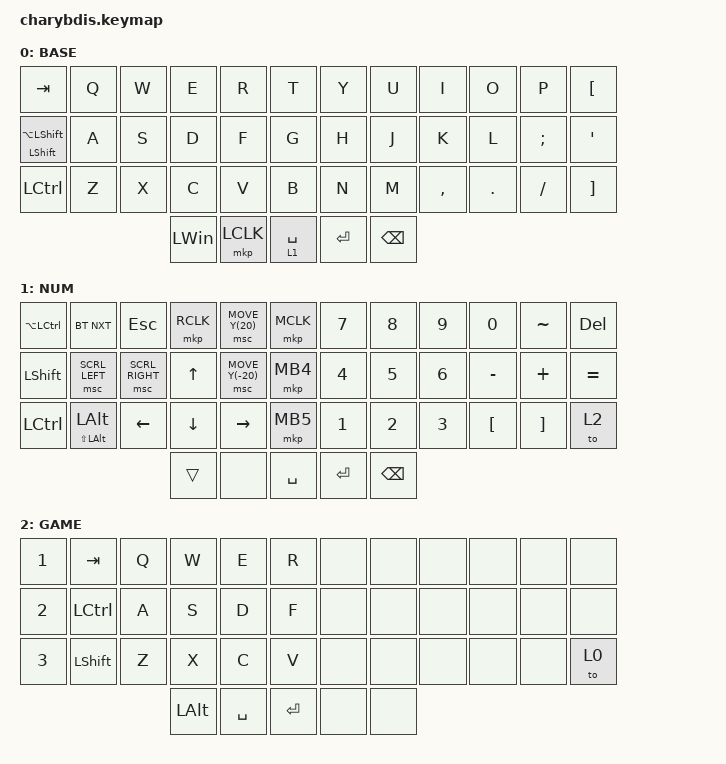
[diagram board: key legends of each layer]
#include <dt-bindings/zmk/mouse.h>
#include <behaviors/mouse_keys.dtsi>
#include <behaviors.dtsi>
#include <dt-bindings/zmk/bt.h>
#include <dt-bindings/zmk/keys.h>
#include <dt-bindings/zmk/pointing.h>
#include "macros.dtsi"

// / {
//     chosen { zmk,matrix_transform = &default_transform; };
// };

/ {
    /* input config for mouse move mode */

    trackball_listener {
        compatible = "zmk,input-behavior-listener";
        device = <&vtrackball>;
        layers = <0 2 7>;
        evt-type = <INPUT_EV_REL>;
        x-input-code = <INPUT_REL_X>;
        y-input-code = <INPUT_REL_Y>;
        scale-multiplier = <1>;
        scale-divisor = <2>;

        // bindings = <&ib_toggle_layer 7>;
    };

    /* input config for snipe mode */

    trackball_snipe_listener {
        compatible = "zmk,input-behavior-listener";
        device = <&vtrackball>;
        layers = <8>;
        evt-type = <INPUT_EV_REL>;
        x-input-code = <INPUT_REL_X>;
        y-input-code = <INPUT_REL_Y>;
        scale-multiplier = <1>;
        scale-divisor = <4>;
    };

    /* input config for mouse scroll mode */

    trackball_scroll_listener {
        compatible = "zmk,input-behavior-listener";
        device = <&vtrackball>;
        layers = <9>;
        evt-type = <INPUT_EV_REL>;
        x-input-code = <INPUT_REL_MISC>;
        y-input-code = <INPUT_REL_WHEEL>;
        y-invert;
        bindings = <&ib_wheel_scaler 1 14>;
    };

    /* define a resolution down scaler only for INPUT_REL_WHEEL */

    ib_wheel_scaler: ib_wheel_scaler {
        compatible = "zmk,input-behavior-scaler";
        #binding-cells = <2>;
        evt-type = <INPUT_EV_REL>;
        input-code = <INPUT_REL_WHEEL>;
    };

    /* adjust cooldown waiting period for mouse key layer after activated */

    ib_toggle_layer: ib_toggle_layer {
        compatible = "zmk,input-behavior-tog-layer";
        #binding-cells = <1>;
        time-to-live-ms = <750>;
    };

    behaviors {
        hm: homerow_mod {
            compatible = "zmk,behavior-hold-tap";
            #binding-cells = <2>;
            flavor = "tap-preferred";
            tapping-term-ms = <175>; // triggers the hold behavior when the tapping-term-ms has expired
            quick-tap-ms = <160>; // If you press a tapped hold-tap again within quick-tap-ms milliseconds of the first press, it will always trigger the tap behavior.
            require-prior-idle-ms = <185>; // like quick-tap-ms however it will apply for any non-modifier key pressed before it
            bindings = <&kp>, <&kp>;

            // hold, tap
        };

        hmsh: homerow_mod_short {
            compatible = "zmk,behavior-hold-tap";
            #binding-cells = <2>;
            flavor = "tap-preferred";
            tapping-term-ms = <135>; // triggers the hold behavior when the tapping-term-ms has expired
            quick-tap-ms = <120>; // If you press a tapped hold-tap again within quick-tap-ms milliseconds of the first press, it will always trigger the tap behavior.
            require-prior-idle-ms = <145>; // like quick-tap-ms however it will apply for any non-modifier key pressed before it
            bindings = <&kp>, <&kp>;

            // hold, tap
        };

        td_cursor: td_scroll_or_cursor {
            compatible = "zmk,behavior-tap-dance";
            #binding-cells = <0>;
            bindings = <&lt 0 ESC>, <&mkp RCLK>;

            // hold, tap, double_tap
        };

        hm_s: homerow_mod_special {
            compatible = "zmk,behavior-hold-tap";
            #binding-cells = <2>;
            flavor = "balanced";
            tapping-term-ms = <210>; // triggers the hold behavior when the tapping-term-ms has expired
            quick-tap-ms = <180>; // If you press a tapped hold-tap again within quick-tap-ms milliseconds of the first press, it will always trigger the tap behavior.
            require-prior-idle-ms = <220>; // like quick-tap-ms however it will apply for any non-modifier key pressed before it
            bindings = <&kp>, <&kp>;

            hold-trigger-key-positions = <0 1 2 3 4 5 6 7 8 9 11 12 13 14 15 16 17 18 19 20 21 22 23 24 25 26 27 28 29 30 31 32 33 34>;
        };

        hm_right: homerow_mod_right {
            compatible = "zmk,behavior-hold-tap";
            #binding-cells = <2>;
            flavor = "balanced";
            tapping-term-ms = <195>; // triggers the hold behavior when the tapping-term-ms has expired
            quick-tap-ms = <170>; // If you press a tapped hold-tap again within quick-tap-ms milliseconds of the first press, it will always trigger the tap behavior.
            require-prior-idle-ms = <200>; // like quick-tap-ms however it will apply for any non-modifier key pressed before it
            bindings = <&kp>, <&kp>;

            hold-trigger-key-positions = <0 1 2 3 4 10 11 12 13 14 20 21 22 23 24 30 31 32>;
        };

        td_layers: td_layer_swap {
            compatible = "zmk,behavior-tap-dance";
            #binding-cells = <0>;
            bindings = <&to 0>, <&to 0>, <&to 2>;

            // tap, double_tap, tripple_tap
        };

        td_clk_scrl: td_click_or_scroll {
            compatible = "zmk,behavior-tap-dance";
            #binding-cells = <0>;
            tapping-term-ms = <195>;
            bindings = <&mkp RCLK>, <&mo 0>;

            // tap/hold, double_tap
        };

        td_rbck: td_right_bracket {
            compatible = "zmk,behavior-tap-dance";
            #binding-cells = <0>;
            tapping-term-ms = <195>;
            bindings = <&kp M>, <&kp RIGHT_BRACKET>;
        };

        td_rp: td_right_paren {
            compatible = "zmk,behavior-tap-dance";
            #binding-cells = <0>;
            tapping-term-ms = <195>;
            bindings = <&kp D>, <&kp RIGHT_PARENTHESIS>;
        };

        td_rbc: td_right_brace {
            compatible = "zmk,behavior-tap-dance";
            #binding-cells = <0>;
            tapping-term-ms = <195>;
            bindings = <&kp B>, <&kp RIGHT_BRACE>;
        };

        td_rgt: td_right_greater_than {
            compatible = "zmk,behavior-tap-dance";
            #binding-cells = <0>;
            tapping-term-ms = <195>;
            bindings = <&kp K>, <&kp GREATER_THAN>;
        };

        td_vt: td_v_tab {
            compatible = "zmk,behavior-tap-dance";
            #binding-cells = <0>;
            tapping-term-ms = <195>;
            bindings = <&kp V>, <&kp TAB>;
        };

        td_2c: td_2_coma {
            compatible = "zmk,behavior-tap-dance";
            #binding-cells = <0>;
            tapping-term-ms = <195>;
            bindings = <&hm F2 N2>, <&kp COMMA>;
        };

        td_3d: td_3_dot {
            compatible = "zmk,behavior-tap-dance";
            #binding-cells = <0>;
            tapping-term-ms = <195>;
            bindings = <&hm F3 N3>, <&kp DOT>;
        };

        td_bore: BASE_or_EXTRA {
            compatible = "zmk,behavior-tap-dance";
            #binding-cells = <0>;
            bindings = <&mo 0>, <&to 0>;
        };
    };

    combos {
        compatible = "zmk,combos";

        BASE_or_EXTRAS {
            bindings = <&td_bore>;
            key-positions = <4 5>;
        };
    };

    // ╭──────┬──────┬──────┬──────┬──────┬──────╮  ╭──────┬──────┬──────┬──────┬──────┬──────╮
    //    00     01     02     03    04      05        06     07     08     09     10     11
    // ├──────┼──────┼──────┼──────┼──────┼──────┤  ├──────┼──────┼──────┼──────┼──────┼──────┤
    //    12     13     14     15    16      17        18     19     20     21     22     23
    // ├──────┼──────┼──────┼──────┼──────┼──────┤  ├──────┼──────┼──────┼──────┼──────┼──────┤
    //    24     25     26     27    28      29        30     31     32     33     34     35
    // ╰──────┴──────┴──────┼──────┼──────┼──────┤  ├──────┼──────┼──────┴──────┴──────┴──────╯
    //                         36     37     38        39     40
    //                      ╰──────┴──────┴──────╯  ╰──────┴──────╯
    // ╭──────┬──────┬──────┬──────┬──────╮  ╭──────┬──────┬──────┬──────┬──────╮
    //    00     01     02     03     04        05     06     07     08     09   
    // ├──────┼──────┼──────┼──────┼──────┤  ├──────┼──────┼──────┼──────┼──────┤
    //    10     11     12     13     14        15     16     17     18     19   
    // ├──────┼──────┼──────┼──────┼──────┤  ├──────┼──────┼──────┼──────┼──────┤
    //    20     21     22     23     24        25     26     27     28     29    
    // ╰──────┴──────┼──────┼──────┼──────┤  ├──────┼──────┼──────┴──────┴──────╯
    //                  30     31     32        33     34
    //               ╰──────┴──────┴──────╯  ╰──────┴──────╯
    // #define BASE    0
    // #define NUM     1
    // #define NAV     2
    // #define SYM     3
    // #define GAME    4
    // #define PHOTOS  5
    // #define EXTRAS  6
    // #define MOUSE   7
    // #define SLOW    8
    // #define SCROLL  9

    keymap {
        compatible = "zmk,keymap";

        BASE {
            bindings = <
&kp TAB                &kp Q  &kp W  &kp E         &kp R      &kp T          &kp Y       &kp U          &kp I      &kp O    &kp P          &kp LEFT_BRACKET
&mt LSHIFT LA(LSHIFT)  &kp A  &kp S  &kp D         &kp F      &kp G          &kp H       &kp J          &kp K      &kp L    &kp SEMICOLON  &kp APOS
&kp LEFT_CONTROL       &kp Z  &kp X  &kp C         &kp V      &kp B          &kp N       &kp M          &kp COMMA  &kp DOT  &kp SLASH      &kp RIGHT_BRACKET
                                     &kp LEFT_WIN  &mkp LCLK  &lt 1 SPACE    &kp RETURN  &kp BACKSPACE
            >;
        };

        NUM {
            bindings = <
&kp LA(LEFT_CONTROL)  &bt BT_NXT                 &kp ESCAPE       &mkp RCLK     &msc MOVE_Y(20)   &mkp MCLK    &kp N7        &kp N8         &kp N9        &kp N0            &kp TILDE          &kp DEL
&kp LEFT_SHIFT        &msc SCRL_LEFT             &msc SCRL_RIGHT  &kp UP_ARROW  &msc MOVE_Y(-20)  &mkp MB4     &kp NUMBER_4  &kp N5         &kp NUMBER_6  &kp MINUS         &kp PLUS           &kp EQUAL
&kp LEFT_CONTROL      &mt LS(LEFT_ALT) LEFT_ALT  &kp LEFT         &kp DOWN      &kp RIGHT         &mkp MB5     &kp NUMBER_1  &kp NUMBER_2   &kp NUMBER_3  &kp LEFT_BRACKET  &kp RIGHT_BRACKET  &to 2
                                                                  &trans        &none             &kp SPACE    &kp RET       &kp BACKSPACE
            >;
        };

        GAME {
            bindings = <
&kp N1  &kp TAB    &kp Q  &kp W         &kp E      &kp R      &none  &none  &none  &none  &none  &none
&kp N2  &kp LCTRL  &kp A  &kp S         &kp D      &kp F      &none  &none  &none  &none  &none  &none
&kp N3  &kp LSHFT  &kp Z  &kp X         &kp C      &kp V      &none  &none  &none  &none  &none  &to 0
                          &kp LEFT_ALT  &kp SPACE  &kp RET    &none  &none
            >;
        };
    };
};
